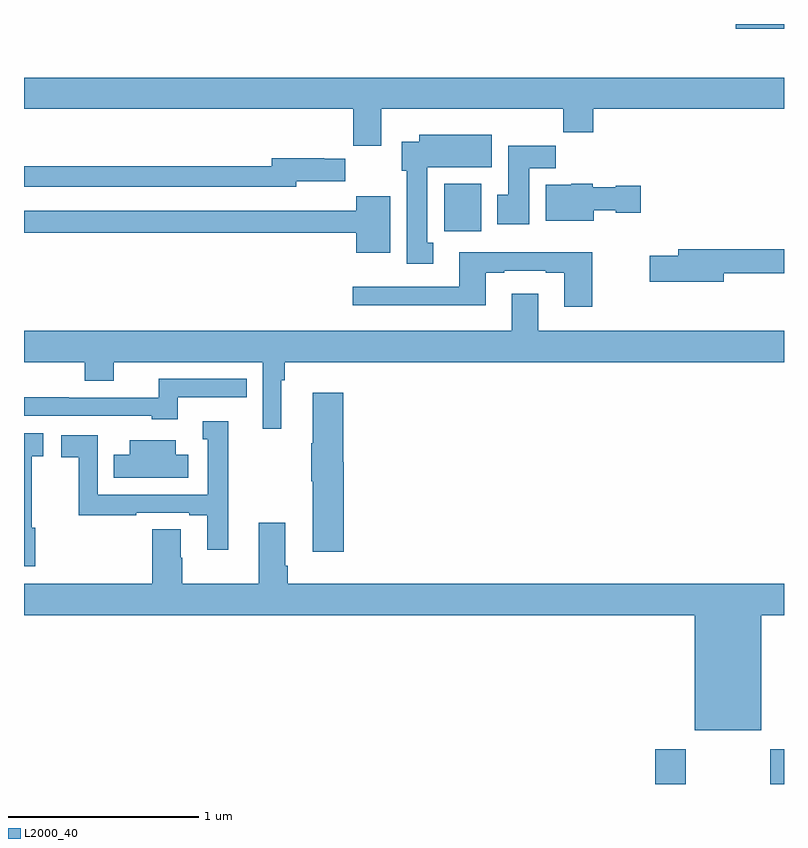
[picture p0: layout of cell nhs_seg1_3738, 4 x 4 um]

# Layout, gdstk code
import gdstk
lib = gdstk.Library(unit=1e-6, precision=1e-09)
def R(c, l, rs):  # rectangles x0, y0, x1, y1
    for r in rs: c.add(gdstk.rectangle(r[:2], r[2:], *l))
def P(c, l, *ps):  # polygons
    for p in ps: c.add(gdstk.Polygon(p, *l))
L2000_40 = (2000, 40)

nhs_seg1_3738 = lib.new_cell('nhs_seg1_3738')
R(nhs_seg1_3738, L2000_40, [(318.323,528.199,318.483,528.382), (318.928,528.199,319,528.382), (317.211,531.108,317.407,531.358), (318.746,532.175,319,532.199)])
P(nhs_seg1_3738, L2000_40, [(316.879,531.752),(317.839,531.752),(317.839,531.628),(317.996,531.628),(317.996,531.752),(319,531.752),(319,531.916),(315,531.916),(315,531.752),(316.733,531.752),(316.733,531.559),(316.879,531.559)],
  [(317.155,531.049),(317.122,531.049),(317.122,531.446),(317.461,531.446),(317.461,531.616),(317.081,531.616),(317.081,531.58),(316.988,531.58),(316.988,531.426),(317.015,531.426),(317.015,530.937),(317.155,530.937)],
  [(317.659,531.44),(317.798,531.44),(317.798,531.558),(317.549,531.558),(317.549,531.3),(317.492,531.3),(317.492,531.144),(317.659,531.144)],
  [(316.432,531.371),(316.691,531.371),(316.691,531.489),(316.58,531.489),(316.58,531.493),(316.304,531.493),(316.304,531.451),(315,531.451),(315,531.342),(316.432,531.342)],
  [(317.998,531.218),(318.114,531.218),(318.114,531.206),(318.247,531.206),(318.247,531.348),(318.114,531.348),(318.114,531.34),(317.994,531.34),(317.994,531.358),(317.88,531.358),(317.88,531.352),(317.747,531.352),(317.747,531.164),(317.998,531.164)],
  [(316.927,531.292),(316.748,531.292),(316.748,531.217),(316.528,531.217),(316.528,531.216),(315,531.216),(315,531.1),(316.748,531.1),(316.748,530.996),(316.927,530.996)],
  [(318.682,530.886),(319,530.886),(319,531.014),(318.443,531.014),(318.443,530.978),(318.294,530.978),(318.294,530.843),(318.682,530.843)],
  [(317.991,530.998),(317.291,530.998),(317.291,530.817),(316.731,530.817),(316.731,530.72),(317.431,530.72),(317.431,530.889),(317.527,530.889),(317.527,530.901),(317.747,530.901),(317.747,530.889),(317.843,530.889),(317.843,530.712),(317.991,530.712)],
  [(316.354,530.324),(316.373,530.324),(316.373,530.42),(319,530.42),(319,530.584),(317.707,530.584),(317.707,530.779),(317.567,530.779),(317.567,530.584),(315,530.584),(315,530.42),(315.32,530.42),(315.32,530.321),(315.472,530.321),(315.472,530.42),(316.257,530.42),(316.257,530.07),(316.354,530.07)],
  [(315.808,530.235),(316.172,530.235),(316.172,530.331),(315.709,530.331),(315.709,530.232),(315.236,530.232),(315.236,530.234),(315,530.234),(315,530.136),(315.672,530.136),(315.672,530.12),(315.808,530.12)],
  [(316.684,529.893),(316.679,529.893),(316.679,530.257),(316.52,530.257),(316.52,529.993),(316.513,529.993),(316.513,529.793),(316.52,529.793),(316.52,529.422),(316.684,529.422)],
  [(316.075,530.107),(315.941,530.107),(315.941,530.013),(315.966,530.013),(315.966,529.722),(315.387,529.722),(315.387,530.034),(315.195,530.034),(315.195,529.918),(315.289,529.918),(315.289,529.614),(315.59,529.614),(315.59,529.626),(315.869,529.626),(315.869,529.614),(315.965,529.614),(315.965,529.431),(316.075,529.431)],
  [(315.059,529.547),(315.042,529.547),(315.042,529.923),(315.1,529.923),(315.1,530.044),(315,530.044),(315,529.344),(315.059,529.344)],
  [(315.865,529.933),(315.799,529.933),(315.799,530.008),(315.557,530.008),(315.557,529.933),(315.472,529.933),(315.472,529.811),(315.865,529.811)],
  [(318.88,529.088),(319,529.088),(319,529.252),(316.388,529.252),(316.388,529.348),(316.375,529.348),(316.375,529.573),(316.235,529.573),(316.235,529.252),(315.834,529.252),(315.834,529.391),(315.826,529.391),(315.826,529.541),(315.674,529.541),(315.674,529.252),(315,529.252),(315,529.088),(318.53,529.088),(318.53,528.482),(318.88,528.482)])

lib.write_gds('nhs_seg1_3738.gds')
